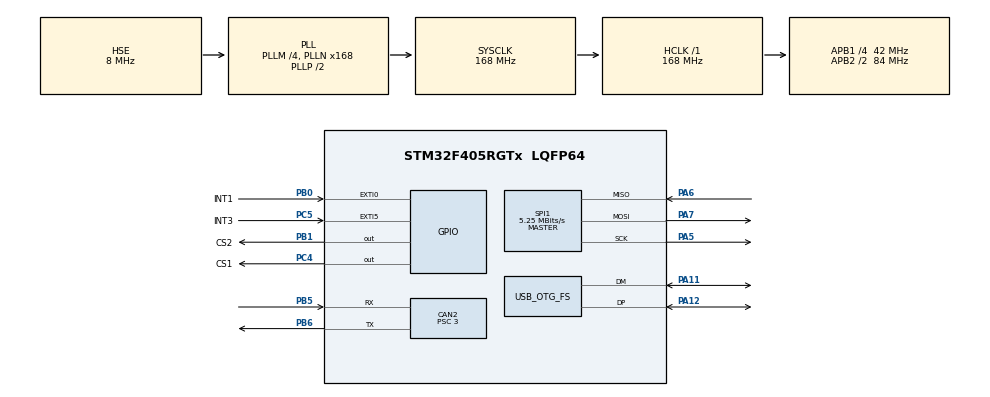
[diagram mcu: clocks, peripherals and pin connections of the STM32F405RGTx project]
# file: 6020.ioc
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CAN2.ABOM=ENABLE
CAN2.AWUM=ENABLE
CAN2.BS1=CAN_BS1_10TQ
CAN2.BS2=CAN_BS2_3TQ
CAN2.CalculateBaudRate=1000000
CAN2.CalculateTimeBit=1000
CAN2.CalculateTimeQuantum=71.42857142857143
CAN2.NART=ENABLE
CAN2.Prescaler=3
Dma.Request0=SPI1_RX
Dma.Request1=SPI1_TX
Dma.SPI1_RX.0.Direction=DMA_PERIPH_TO_MEMORY
Dma.SPI1_RX.0.FIFOMode=DMA_FIFOMODE_DISABLE
Dma.SPI1_RX.0.Instance=DMA2_Stream2
Dma.SPI1_RX.0.MemDataAlignment=DMA_MDATAALIGN_BYTE
Dma.SPI1_RX.0.MemInc=DMA_MINC_ENABLE
Dma.SPI1_RX.0.Mode=DMA_NORMAL
Dma.SPI1_RX.0.PeriphDataAlignment=DMA_PDATAALIGN_BYTE
Dma.SPI1_RX.0.PeriphInc=DMA_PINC_DISABLE
Dma.SPI1_RX.0.Priority=DMA_PRIORITY_VERY_HIGH
Dma.SPI1_TX.1.Direction=DMA_MEMORY_TO_PERIPH
Dma.SPI1_TX.1.FIFOMode=DMA_FIFOMODE_DISABLE
Dma.SPI1_TX.1.Instance=DMA2_Stream3
Dma.SPI1_TX.1.MemDataAlignment=DMA_MDATAALIGN_BYTE
Dma.SPI1_TX.1.MemInc=DMA_MINC_ENABLE
Dma.SPI1_TX.1.Mode=DMA_NORMAL
Dma.SPI1_TX.1.PeriphDataAlignment=DMA_PDATAALIGN_BYTE
Dma.SPI1_TX.1.PeriphInc=DMA_PINC_DISABLE
Dma.SPI1_TX.1.Priority=DMA_PRIORITY_HIGH
FREERTOS.Tasks01=defaultTask,24,128,StartDefaultTask,Default,NULL,Dynamic,NULL,NULL;IMUTask,40,512,StartIMUTask,As weak,NULL,Dynamic,NULL,NULL;AutoAimTask,24,256,StartAutoAimTask,As weak,NULL,Dynamic,NULL,NULL;SentryTask,8,256,StartSentryTask,As weak,NULL,Dynamic,NULL,NULL
Mcu.Family=STM32F4
Mcu.Name=STM32F405RGTx
Mcu.Package=LQFP64
NVIC.CAN2_RX0_IRQn=true\:6\:0\:true\:false\:true\:true\:true\:true\:true
NVIC.CAN2_TX_IRQn=true\:6\:0\:true\:false\:true\:true\:true\:true\:true
NVIC.DMA2_Stream2_IRQn=true\:5\:0\:false\:false\:true\:true\:false\:true\:true
NVIC.DMA2_Stream3_IRQn=true\:5\:0\:false\:false\:true\:true\:false\:true\:true
NVIC.OTG_FS_IRQn=true\:7\:0\:true\:false\:true\:true\:false\:true\:true
NVIC.PriorityGroup=NVIC_PRIORITYGROUP_4
NVIC.TIM7_IRQn=true\:15\:0\:false\:false\:true\:false\:false\:true\:true
NVIC.TimeBase=TIM7_IRQn
NVIC.TimeBaseIP=TIM7
PA11.Mode=Device_Only
PA11.Signal=USB_OTG_FS_DM
PA12.Mode=Device_Only
PA12.Signal=USB_OTG_FS_DP
PA13.Mode=Serial_Wire
PA13.Signal=SYS_JTMS-SWDIO
PA14.Mode=Serial_Wire
PA14.Signal=SYS_JTCK-SWCLK
PA5.Mode=Full_Duplex_Master
PA5.Signal=SPI1_SCK
PA6.Mode=Full_Duplex_Master
PA6.Signal=SPI1_MISO
PA7.Mode=Full_Duplex_Master
PA7.Signal=SPI1_MOSI
PB0.GPIO_Label=INT1
PB0.GPIO_ModeDefaultEXTI=GPIO_MODE_IT_FALLING
PB0.GPIO_PuPd=GPIO_PULLUP
PB0.Signal=GPXTI0
PB1.GPIO_Label=CS2
PB1.GPIO_PuPd=GPIO_PULLUP
PB1.GPIO_Speed=GPIO_SPEED_FREQ_HIGH
PB1.PinState=GPIO_PIN_SET
PB1.Signal=GPIO_Output
PB5.Mode=CAN_Activate
PB5.Signal=CAN2_RX
PB6.Mode=CAN_Activate
PB6.Signal=CAN2_TX
PC4.GPIO_Label=CS1
PC4.GPIO_PuPd=GPIO_PULLUP
PC4.GPIO_Speed=GPIO_SPEED_FREQ_HIGH
PC4.PinState=GPIO_PIN_SET
PC4.Signal=GPIO_Output
PC5.GPIO_Label=INT3
PC5.GPIO_ModeDefaultEXTI=GPIO_MODE_IT_FALLING
PC5.GPIO_PuPd=GPIO_PULLUP
PC5.Signal=GPXTI5
PH0-OSC_IN.Mode=HSE-External-Oscillator
PH0-OSC_IN.Signal=RCC_OSC_IN
PH1-OSC_OUT.Mode=HSE-External-Oscillator
PH1-OSC_OUT.Signal=RCC_OSC_OUT
ProjectManager.HeapSize=0x200
ProjectManager.StackSize=0x400
ProjectManager.TargetToolchain=CMake
RCC.48MHZClocksFreq_Value=48000000
RCC.AHBFreq_Value=168000000
RCC.APB1CLKDivider=RCC_HCLK_DIV4
RCC.APB1Freq_Value=42000000
RCC.APB1TimFreq_Value=84000000
RCC.APB2CLKDivider=RCC_HCLK_DIV2
RCC.APB2Freq_Value=84000000
RCC.APB2TimFreq_Value=168000000
RCC.CortexFreq_Value=168000000
RCC.HCLKFreq_Value=168000000
RCC.HSE_VALUE=8000000
RCC.HSI_VALUE=16000000
RCC.LSE_VALUE=32768
RCC.PLLM=4
RCC.PLLN=168
RCC.PLLQ=7
RCC.SYSCLKFreq_VALUE=168000000
RCC.SYSCLKSource=RCC_SYSCLKSOURCE_PLLCLK
RCC.VCOOutputFreq_Value=336000000
SPI1.BaudRatePrescaler=SPI_BAUDRATEPRESCALER_16
SPI1.CLKPhase=SPI_PHASE_2EDGE
SPI1.CLKPolarity=SPI_POLARITY_HIGH
SPI1.CalculateBaudRate=5.25 MBits/s
SPI1.Direction=SPI_DIRECTION_2LINES
SPI1.Mode=SPI_MODE_MASTER
SPI1.VirtualType=VM_MASTER
USB_DEVICE.CLASS_NAME_FS=CDC
USB_DEVICE.VirtualMode-CDC_FS=Cdc
USB_DEVICE.VirtualModeFS=Cdc_FS
USB_OTG_FS.VirtualMode=Device_Only
VP_FREERTOS_VS_CMSIS_V2.Mode=CMSIS_V2
VP_SYS_VS_tim7.Mode=TIM7
VP_USB_DEVICE_VS_USB_DEVICE_CDC_FS.Mode=CDC_FS
board=custom

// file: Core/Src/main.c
/* USER CODE BEGIN Header */
/**
  ******************************************************************************
  * @file           : main.c
  * @brief          : Main program body
  ******************************************************************************
  * @attention
  *
  * Copyright (c) 2026 STMicroelectronics.
  * All rights reserved.
  *
  * This software is licensed under terms that can be found in the LICENSE file
  * in the root directory of this software component.
  * If no LICENSE file comes with this software, it is provided AS-IS.
  *
  ******************************************************************************
  */
/* USER CODE END Header */
#include "main.h"
#include "cmsis_os.h"
#include "can.h"
#include "dma.h"
#include "spi.h"
#include "usb_device.h"
#include "gpio.h"

/* USER CODE BEGIN Includes */

#include "app_sentry_globals.h"

/* USER CODE END Includes */

void SystemClock_Config(void);
void MX_FREERTOS_Init(void);

int main(void)
{

  /* MCU Configuration--------------------------------------------------------*/

  /* Reset of all peripherals, Initializes the Flash interface and the Systick. */
  HAL_Init();

  /* Configure the system clock */
  SystemClock_Config();

  /* Initialize all configured peripherals */
  MX_GPIO_Init();
  MX_DMA_Init();
  MX_CAN2_Init();
  MX_SPI1_Init();

  /* USER CODE BEGIN 2 */

  /* CAN 驱动初始化 */
  can_user_init(&hcan2);

  /* PID 初始化（Yaw/Pitch 独立参数）*/
  pid_init(&angle_pid2, ANGLE_KP_YAW,   ANGLE_KI_YAW,   ANGLE_KD_YAW,   ANGLE_I_MAX, ANGLE_OUT_MAX);
  pid_init(&speed_pid2, SPEED_KP_YAW,   SPEED_KI_YAW,   SPEED_KD_YAW,   SPEED_I_MAX, SPEED_OUT_MAX);
  pid_init(&angle_pid4, ANGLE_KP_PITCH, ANGLE_KI_PITCH, ANGLE_KD_PITCH, ANGLE_I_MAX, ANGLE_OUT_MAX);
  pid_init(&speed_pid4, SPEED_KP_PITCH, SPEED_KI_PITCH, SPEED_KD_PITCH, SPEED_I_MAX, SPEED_OUT_MAX);

  /* BMI088 初始化 */
  dbg_imu_error = BMI088_init();

  /* 等第一帧 CAN 数据到达 */
  HAL_Delay(100);

  /* 记录电机上电零点 */
  zero_enc2      = motor_info[MOTOR2_IDX].rotor_angle;
  zero_enc4      = motor_info[MOTOR4_IDX].rotor_angle;
  prof_pos       = 0.0f;
  prof_pos_pitch = 0.0f;
  homing_target2 = 0.0f;
  homing_target4 = 0.0f;
  filtered_spd2  = (float)motor_info[MOTOR2_IDX].rotor_speed;
  filtered_spd4  = (float)motor_info[MOTOR4_IDX].rotor_speed;

  BSP_USB_Init();

  /* USER CODE END 2 */

  /* Init scheduler */
  osKernelInitialize();
  MX_FREERTOS_Init();

  /* Start scheduler */
  osKernelStart();

  /* We should never get here as control is now taken by the scheduler */

  /* Infinite loop */
  while (1)
  {

  }
}

void SystemClock_Config(void)
{
  RCC_OscInitTypeDef RCC_OscInitStruct = {0};
  RCC_ClkInitTypeDef RCC_ClkInitStruct = {0};

  /** Configure the main internal regulator output voltage
  */
  __HAL_RCC_PWR_CLK_ENABLE();
  __HAL_PWR_VOLTAGESCALING_CONFIG(PWR_REGULATOR_VOLTAGE_SCALE1);

  /** Initializes the RCC Oscillators according to the specified parameters
  * in the RCC_OscInitTypeDef structure.
  */
  RCC_OscInitStruct.OscillatorType = RCC_OSCILLATORTYPE_HSE;
  RCC_OscInitStruct.HSEState = RCC_HSE_ON;
  RCC_OscInitStruct.PLL.PLLState = RCC_PLL_ON;
  RCC_OscInitStruct.PLL.PLLSource = RCC_PLLSOURCE_HSE;
  RCC_OscInitStruct.PLL.PLLM = 4;
  RCC_OscInitStruct.PLL.PLLN = 168;
  RCC_OscInitStruct.PLL.PLLP = RCC_PLLP_DIV2;
  RCC_OscInitStruct.PLL.PLLQ = 7;
  if (HAL_RCC_OscConfig(&RCC_OscInitStruct) != HAL_OK)
  {
    Error_Handler();
  }

  /** Initializes the CPU, AHB and APB buses clocks
  */
  RCC_ClkInitStruct.ClockType = RCC_CLOCKTYPE_HCLK|RCC_CLOCKTYPE_SYSCLK
                              |RCC_CLOCKTYPE_PCLK1|RCC_CLOCKTYPE_PCLK2;
  RCC_ClkInitStruct.SYSCLKSource = RCC_SYSCLKSOURCE_PLLCLK;
  RCC_ClkInitStruct.AHBCLKDivider = RCC_SYSCLK_DIV1;
  RCC_ClkInitStruct.APB1CLKDivider = RCC_HCLK_DIV4;
  RCC_ClkInitStruct.APB2CLKDivider = RCC_HCLK_DIV2;

  if (HAL_RCC_ClockConfig(&RCC_ClkInitStruct, FLASH_LATENCY_5) != HAL_OK)
  {
    Error_Handler();
  }
}

void HAL_TIM_PeriodElapsedCallback(TIM_HandleTypeDef *htim)
{
  if (htim->Instance == TIM7)
  {
    HAL_IncTick();
  }
}

void Error_Handler(void)
{
  __disable_irq();
  while (1) {}
}

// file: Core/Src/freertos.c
/* USER CODE BEGIN Header */
/**
  ******************************************************************************
  * File Name          : freertos.c
  * Description        : Code for freertos applications
  ******************************************************************************
  * @attention
  *
  * Copyright (c) 2026 STMicroelectronics.
  * All rights reserved.
  *
  * This software is licensed under terms that can be found in the LICENSE file
  * in the root directory of this software component.
  * If no LICENSE file comes with this software, it is provided AS-IS.
  *
  ******************************************************************************
  */
/* USER CODE END Header */

#include "FreeRTOS.h"
#include "task.h"
#include "main.h"
#include "cmsis_os.h"

/* Definitions for defaultTask */
osThreadId_t defaultTaskHandle;
const osThreadAttr_t defaultTask_attributes = {
  .name = "defaultTask",
  .stack_size = 128 * 4,
  .priority = (osPriority_t) osPriorityNormal,
};
/* Definitions for IMUTask */
osThreadId_t IMUTaskHandle;
const osThreadAttr_t IMUTask_attributes = {
  .name = "IMUTask",
  .stack_size = 512 * 4,
  .priority = (osPriority_t) osPriorityHigh,
};
/* Definitions for AutoAimTask */
osThreadId_t AutoAimTaskHandle;
const osThreadAttr_t AutoAimTask_attributes = {
  .name = "AutoAimTask",
  .stack_size = 256 * 4,
  .priority = (osPriority_t) osPriorityNormal,
};
/* Definitions for SentryTask */
osThreadId_t SentryTaskHandle;
const osThreadAttr_t SentryTask_attributes = {
  .name = "SentryTask",
  .stack_size = 256 * 4,
  .priority = (osPriority_t) osPriorityLow,
};

void StartDefaultTask(void *argument);
void StartIMUTask(void *argument);
void StartAutoAimTask(void *argument);
void StartSentryTask(void *argument);

extern void MX_USB_DEVICE_Init(void);
void MX_FREERTOS_Init(void); /* (MISRA C 2004 rule 8.1) */

void MX_FREERTOS_Init(void) {

  /* Create the thread(s) */
  /* creation of defaultTask */
  defaultTaskHandle = osThreadNew(StartDefaultTask, NULL, &defaultTask_attributes);

  /* creation of IMUTask */
  IMUTaskHandle = osThreadNew(StartIMUTask, NULL, &IMUTask_attributes);

  /* creation of AutoAimTask */
  AutoAimTaskHandle = osThreadNew(StartAutoAimTask, NULL, &AutoAimTask_attributes);

  /* creation of SentryTask */
  SentryTaskHandle = osThreadNew(StartSentryTask, NULL, &SentryTask_attributes);

}

void StartDefaultTask(void *argument)
{
  /* init code for USB_DEVICE */
  MX_USB_DEVICE_Init();
  for(;;)
  {
    osDelay(1);
  }
}

__weak void StartIMUTask(void *argument)
{
  for(;;)
  {
    osDelay(1);
  }
}

__weak void StartAutoAimTask(void *argument)
{
  for(;;)
  {
    osDelay(1);
  }
}

__weak void StartSentryTask(void *argument)
{
  for(;;)
  {
    osDelay(1);
  }
}
